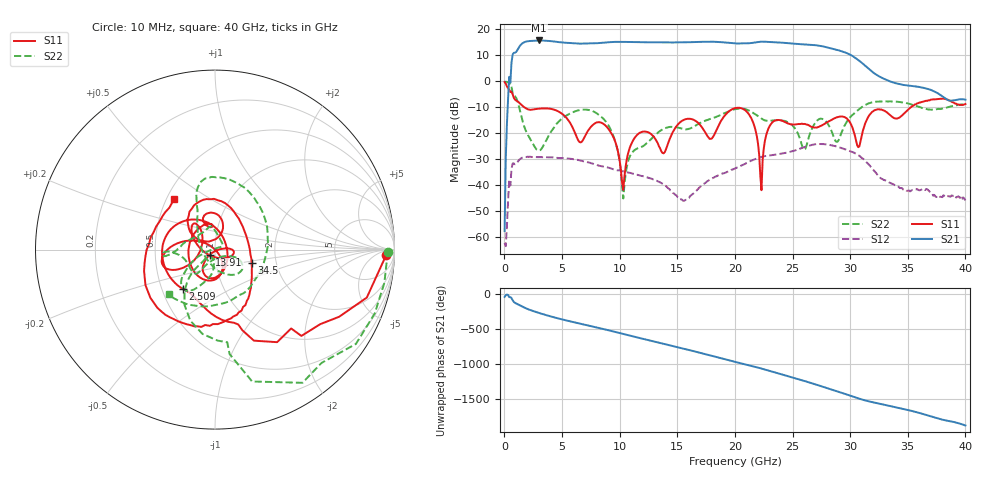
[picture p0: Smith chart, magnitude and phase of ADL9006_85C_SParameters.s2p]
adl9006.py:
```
from pathlib import Path

import numpy as np
import skrf as rf

import matplotlib.pyplot as plt

from scipy.interpolate import CubicSpline

class ADL9006:
    psat_data = np.array([
        [ 1.0664017221394317, 17.607977703671477 ],
        [ 1.3715019042887917, 18.382968440384705 ],
        [ 1.6766020864381588, 19.146086059961654 ],
        [ 2.037175028978311, 19.876121558592192 ],
        [ 2.647375393277038, 20.10035105293913 ],
        [ 3.257575757575765, 20.05619483218439 ],
        [ 3.867776121874485, 19.982601130926486 ],
        [ 4.477976486173219, 19.914600550964177 ],
        [ 5.088176850471939, 19.787725009995555 ],
        [ 5.698377214770659, 19.738270042750248 ],
        [ 6.308577579069393, 19.65290134929108 ],
        [ 6.918777943368113, 19.529263931177802 ],
        [ 7.528978307666833, 19.361470292309786 ],
        [ 8.139178671965567, 19.26432660664935 ],
        [ 8.749379036264287, 19.290820339102197 ],
        [ 9.359579400563021, 19.2554953624984 ],
        [ 9.969779764861741, 19.131857944385125 ],
        [ 10.579980129160461, 19.019995518473113 ],
        [ 11.190180493459195, 18.896358100359837 ],
        [ 11.800380857757915, 18.775664430296874 ],
        [ 12.410581222056635, 18.51072710576842 ],
        [ 13.020781586355369, 18.269339765642503 ],
        [ 13.630981950654089, 18.395920931806096 ],
        [ 14.241182314952823, 18.43124590840989 ],
        [ 14.851382679251543, 18.210464804636178 ],
        [ 15.461583043550263, 18.05150240991911 ],
        [ 16.071783407848997, 17.877821274950456 ],
        [ 16.681983772147717, 17.58639021796916 ],
        [ 17.292184136446437, 17.038853080610362 ],
        [ 17.90238450074517, 16.535472164006304 ],
        [ 18.4848484848485, 16.893431926924745 ],
        [ 19.067312468951826, 17.468640295956515 ],
        [ 19.677512833250546, 17.583446469918844 ],
        [ 20.28771319754928, 17.501021524509994 ],
        [ 20.897913561848, 17.33322788564197 ],
        [ 21.50811392614672, 17.218421711679646 ],
        [ 22.118314290445454, 17.088896797465736 ],
        [ 22.728514654744174, 16.885778181993924 ],
        [ 23.33871501904291, 16.715040795075588 ],
        [ 23.948915383341628, 16.588459628911995 ],
        [ 24.559115747640348, 16.352959784886703 ],
        [ 25.169316111939082, 16.05446373258465 ],
        [ 25.779516476237802, 15.742328314316133 ],
        [ 26.389716840536522, 15.534597826898821 ],
        [ 26.999917204835256, 15.443341637339024 ],
        [ 27.610117569133976, 14.966454453187811 ],
        [ 28.22031793343271, 14.533723489791342 ],
        [ 28.83051829773143, 14.29822364576605 ],
        [ 29.44071866203015, 14.233461188659096 ],
        [ 29.912237125351893, 14.267314291237732 ],
])        

    datadir = Path(__file__).parent / "data"

    sparams = rf.Network(datadir / "ADL9006_85C_SParameters.s2p")

    gain = CubicSpline(sparams.f / 1e9, 20 * np.log10(np.abs(sparams.s[:,1,0])))

    psat = CubicSpline(psat_data[:,0], psat_data[:,1])
```
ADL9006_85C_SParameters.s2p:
! Analog Devices, Inc.
! Device:	ADL9006ACGZN
! Description:	GaAs, Distributed LNA Amplifier
! Conditions:	Vdd = 5.0 V
!		Idd = 55mA
!		Pin = -25 dBm
!		Operating Temperature = 85 C (at package bottom)
! Product validation unit SN1 soldered down to Evaluation Board as shown on ADL9006-EVALZ User Guide. Board loss de-embedded from S21 magnitude.  All other RF measurements reference to RF coaxial connector.
! Frequency (GHz)	S11_Mag (dB)	S11_Phase (deg)	S21_Mag (dB)	S21_Phase (deg)	S12_Mag (dB)	S12_Phase (deg)	S22_Mag (dB)	S22_Phase (deg)
#  GHZ  S  DB  R 50
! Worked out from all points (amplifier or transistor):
!   401 points, 10 MHz to 40 GHz, reference 50 ohm
!   highest |S21| = 15.5 dB at 3.009 GHz (marker M1)
!   |S21| within 3 dB of that: 1.205 GHz to 28.32 GHz (27.12 GHz wide, 184 % of centre)
!   unconditionally stable (mu >= 1): start of sweep to end of sweep
!   at 6.608 GHz: K = 3.08, MAG = 14.7 dB, |S12| = -30.6 dB
!   at 20 GHz: K = 3.92, MAG = 15.2 dB, |S12| = -33.6 dB
!   at 40 GHz: K = 171.26, MAG = -6.0 dB, |S12| = -45.9 dB
!   S11 on the Smith chart (normalised r, x): 10 MHz: 30, -20; 2.509 GHz: 0.64, -0.30; 13.91 GHz: 0.94, -0.06; 34.5 GHz: 1.49, -0.23; 40 GHz: 0.55, +0.35
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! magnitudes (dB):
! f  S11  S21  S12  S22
! 10 MHz  -0.4  -57.7  -62.2  -0.3
! 609.9 MHz  -4.1  7.1  -33.8  -2.3
! 2.509 GHz  -11.0  15.4  -29.2  -24.5
! 3.009 GHz  -10.6  15.5  -29.3  -26.7
! 7.608 GHz  -17.2  14.4  -31.7  -11.5
! 10.31 GHz  -41.9  15.0  -34.8  -45.1
! 13.91 GHz  -27.4  14.8  -40.1  -18.2
! 20.1 GHz  -10.4  14.4  -33.4  -10.8
! 22.3 GHz  -42.0  15.1  -29.2  -14.5
! 34.5 GHz  -13.3  -1.5  -41.2  -8.2
! 40 GHz  -8.9  -7.2  -45.9  -8.9
